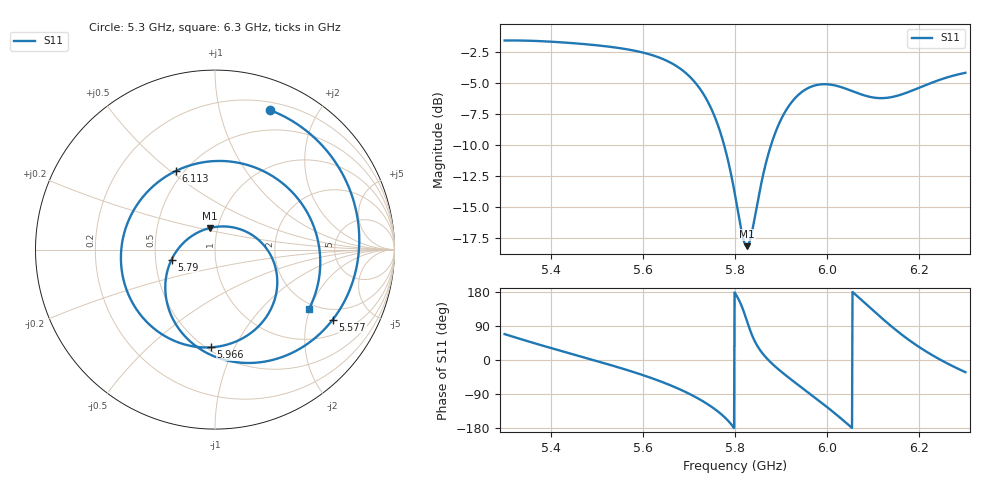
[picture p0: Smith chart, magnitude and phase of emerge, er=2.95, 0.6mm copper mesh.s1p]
! Generated by EMerge - 1-port S-parameters
! File generated: 2026-04-04 20:26
# GHZ S RI R 50
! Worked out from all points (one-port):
!   1001 points, 5.3 GHz to 6.3 GHz, reference 50 ohm
!   lowest |S11| = -18.1 dB at 5.826 GHz (marker M1), VSWR 1.28, Z = 46 + j11.3 ohm
!   |S11| at or under -10 dB: 5.776 GHz to 5.878 GHz (101.7 MHz wide, 1.75 % of centre)
!   S11 on the Smith chart (normalised r, x): 5.3 GHz: 0.28, +1.44; 5.577 GHz: 1.54, -2.89; 5.79 GHz: 0.61, -0.07; 5.966 GHz: 0.52, -0.81; 6.113 GHz: 0.45, +0.52; 6.3 GHz: 1.84, -1.97
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5.3  0.3086 0.7764
5.366  0.6007 0.5762
5.425  0.7555 0.3217
5.488  0.8032 0.0196
5.55  0.7289 -0.2734
5.577  0.6563 -0.3899
5.632  0.4265 -0.5767
5.675  0.1747 -0.6316
5.71  -0.0501 -0.5734
5.745  -0.2297 -0.3959
5.768  -0.2768 -0.2255
5.79  -0.2421 -0.0557
5.8  -0.1992 0.0118
5.826  -0.0271 0.1208
5.851  0.1649 0.1039
5.88  0.3201 -0.0515
5.902  0.3449 -0.2193
5.925  0.2768 -0.388
5.966  -0.0216 -0.5445
6.003  -0.3367 -0.4424
6.027  -0.4769 -0.2627
6.05  -0.5242 -0.0453
6.079  -0.4506 0.2236
6.113  -0.2183 0.4381
6.143  0.0412 0.4937
6.175  0.2964 0.4234
6.235  0.5665 0.0787
6.3  0.5245 -0.3289
